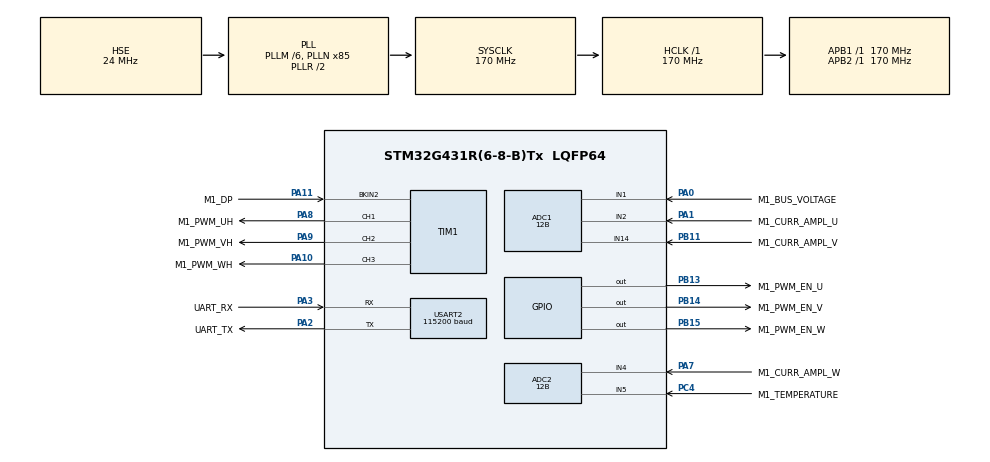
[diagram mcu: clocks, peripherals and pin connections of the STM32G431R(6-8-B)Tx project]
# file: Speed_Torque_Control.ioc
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ADC1.Channel-1\#ChannelRegularConversion=ADC_CHANNEL_1
ADC1.ClockPrescaler=ADC_CLOCK_ASYNC_DIV1
ADC1.ContinuousConvMode=DISABLE
ADC1.DMAContinuousRequests=DISABLE
ADC1.DataAlign=ADC_DATAALIGN_LEFT
ADC1.DiscontinuousConvMode=DISABLE
ADC1.EOCSelection=ADC_EOC_SINGLE_CONV
ADC1.EnableAnalogWatchDog1=false
ADC1.EnableAnalogWatchDog2=false
ADC1.EnableAnalogWatchDog3=false
ADC1.EnableInjectedConversion=ENABLE
ADC1.EnableRegularConversion=ENABLE
ADC1.ExternalTrigConv=ADC_SOFTWARE_START
ADC1.ExternalTrigConvEdge=ADC_EXTERNALTRIGCONVEDGE_NONE
ADC1.ExternalTrigInjecConv=ADC_EXTERNALTRIGINJEC_T1_TRGO
ADC1.ExternalTrigInjecConvEdge=ADC_EXTERNALTRIGINJECCONV_EDGE_RISING
ADC1.InjNumberOfConversion=2
ADC1.InjectedChannel-1\#ChannelInjectedConversion=ADC_CHANNEL_2
ADC1.InjectedChannel-2\#ChannelInjectedConversion=ADC_CHANNEL_14
ADC1.InjectedConvMode=None
ADC1.InjectedOffset-1\#ChannelInjectedConversion=0
ADC1.InjectedOffset-2\#ChannelInjectedConversion=0
ADC1.InjectedOffsetNumber-1\#ChannelInjectedConversion=ADC_OFFSET_NONE
ADC1.InjectedOffsetNumber-2\#ChannelInjectedConversion=ADC_OFFSET_NONE
ADC1.InjectedRank-1\#ChannelInjectedConversion=1
ADC1.InjectedRank-2\#ChannelInjectedConversion=2
ADC1.InjectedSamplingTime-1\#ChannelInjectedConversion=ADC_SAMPLETIME_6CYCLES_5
ADC1.InjectedSamplingTime-2\#ChannelInjectedConversion=ADC_SAMPLETIME_6CYCLES_5
ADC1.LowPowerAutoWait=DISABLE
ADC1.NbrOfConversion=1
ADC1.NbrOfConversionFlag=1
ADC1.Offset-1\#ChannelRegularConversion=0
ADC1.OffsetNumber-1\#ChannelRegularConversion=ADC_OFFSET_NONE
ADC1.Overrun=ADC_OVR_DATA_PRESERVED
ADC1.Rank-1\#ChannelRegularConversion=1
ADC1.Resolution=ADC_RESOLUTION_12B
ADC1.SamplingTime-1\#ChannelRegularConversion=ADC_SAMPLETIME_47CYCLES_5
ADC1.ScanConvMode=ADC_SCAN_ENABLE
ADC1.master=1
ADC2.Channel-1\#ChannelRegularConversion=ADC_CHANNEL_5
ADC2.ClockPrescaler=ADC_CLOCK_ASYNC_DIV1
ADC2.ContinuousConvMode=DISABLE
ADC2.DMAContinuousRequests=DISABLE
ADC2.DataAlign=ADC_DATAALIGN_LEFT
ADC2.DiscontinuousConvMode=DISABLE
ADC2.EOCSelection=ADC_EOC_SINGLE_CONV
ADC2.EnableAnalogWatchDog1=false
ADC2.EnableAnalogWatchDog2=false
ADC2.EnableAnalogWatchDog3=false
ADC2.EnableInjectedConversion=ENABLE
ADC2.EnableRegularConversion=ENABLE
ADC2.ExternalTrigConv=ADC_SOFTWARE_START
ADC2.ExternalTrigConvEdge=ADC_EXTERNALTRIGCONVEDGE_NONE
ADC2.ExternalTrigInjecConv=ADC_EXTERNALTRIGINJEC_T1_TRGO
ADC2.ExternalTrigInjecConvEdge=ADC_EXTERNALTRIGINJECCONV_EDGE_RISING
ADC2.InjNumberOfConversion=2
ADC2.InjectedChannel-1\#ChannelInjectedConversion=ADC_CHANNEL_14
ADC2.InjectedChannel-2\#ChannelInjectedConversion=ADC_CHANNEL_4
ADC2.InjectedConvMode=None
ADC2.InjectedOffset-1\#ChannelInjectedConversion=0
ADC2.InjectedOffset-2\#ChannelInjectedConversion=0
ADC2.InjectedOffsetNumber-1\#ChannelInjectedConversion=ADC_OFFSET_NONE
ADC2.InjectedOffsetNumber-2\#ChannelInjectedConversion=ADC_OFFSET_NONE
ADC2.InjectedRank-1\#ChannelInjectedConversion=1
ADC2.InjectedRank-2\#ChannelInjectedConversion=2
ADC2.InjectedSamplingTime-1\#ChannelInjectedConversion=ADC_SAMPLETIME_6CYCLES_5
ADC2.InjectedSamplingTime-2\#ChannelInjectedConversion=ADC_SAMPLETIME_6CYCLES_5
ADC2.LowPowerAutoWait=DISABLE
ADC2.NbrOfConversion=1
ADC2.NbrOfConversionFlag=1
ADC2.Offset-1\#ChannelRegularConversion=0
ADC2.OffsetNumber-1\#ChannelRegularConversion=ADC_OFFSET_NONE
ADC2.Overrun=ADC_OVR_DATA_PRESERVED
ADC2.Rank-1\#ChannelRegularConversion=1
ADC2.Resolution=ADC_RESOLUTION_12B
ADC2.SamplingTime-1\#ChannelRegularConversion=ADC_SAMPLETIME_47CYCLES_5
ADC2.ScanConvMode=ADC_SCAN_ENABLE
ADC2.master=1
Dma.Request0=USART2_RX
Dma.Request1=USART2_TX
Dma.USART2_RX.0.Direction=DMA_PERIPH_TO_MEMORY
Dma.USART2_RX.0.EventEnable=DISABLE
Dma.USART2_RX.0.Instance=DMA1_Channel1
Dma.USART2_RX.0.MemDataAlignment=DMA_MDATAALIGN_BYTE
Dma.USART2_RX.0.MemInc=DMA_MINC_ENABLE
Dma.USART2_RX.0.Mode=DMA_NORMAL
Dma.USART2_RX.0.PeriphDataAlignment=DMA_PDATAALIGN_BYTE
Dma.USART2_RX.0.PeriphInc=DMA_PINC_DISABLE
Dma.USART2_RX.0.Polarity=HAL_DMAMUX_REQ_GEN_RISING
Dma.USART2_RX.0.Priority=DMA_PRIORITY_LOW
Dma.USART2_RX.0.RequestNumber=1
Dma.USART2_RX.0.SignalID=NONE
Dma.USART2_RX.0.SyncEnable=DISABLE
Dma.USART2_RX.0.SyncPolarity=HAL_DMAMUX_SYNC_NO_EVENT
Dma.USART2_RX.0.SyncRequestNumber=1
Dma.USART2_RX.0.SyncSignalID=NONE
Dma.USART2_TX.1.Direction=DMA_MEMORY_TO_PERIPH
Dma.USART2_TX.1.EventEnable=DISABLE
Dma.USART2_TX.1.Instance=DMA1_Channel2
Dma.USART2_TX.1.MemDataAlignment=DMA_MDATAALIGN_BYTE
Dma.USART2_TX.1.MemInc=DMA_MINC_ENABLE
Dma.USART2_TX.1.Mode=DMA_NORMAL
Dma.USART2_TX.1.PeriphDataAlignment=DMA_PDATAALIGN_BYTE
Dma.USART2_TX.1.PeriphInc=DMA_PINC_DISABLE
Dma.USART2_TX.1.Polarity=HAL_DMAMUX_REQ_GEN_RISING
Dma.USART2_TX.1.Priority=DMA_PRIORITY_LOW
Dma.USART2_TX.1.RequestNumber=1
Dma.USART2_TX.1.SignalID=NONE
Dma.USART2_TX.1.SyncEnable=DISABLE
Dma.USART2_TX.1.SyncPolarity=HAL_DMAMUX_SYNC_NO_EVENT
Dma.USART2_TX.1.SyncRequestNumber=1
Dma.USART2_TX.1.SyncSignalID=NONE
ExtraMW=MotorControl
ExtraMW.MotorControl.Config=MotorControl
ExtraMW.MotorControl.Mode=MotorControl
ExtraMW.MotorControl.Root=MCSDK_v6.4.1-Full/MotorControl
ExtraMW.MotorControl.Template=templates
Mcu.Family=STM32G4
Mcu.Name=STM32G431R(6-8-B)Tx
Mcu.Package=LQFP64
MotorControl.ADC_1_PERIPH=ADC1
MotorControl.ADC_2_PERIPH=ADC2
MotorControl.ADC_AHBPERIPH=RCC_AHBPeriph_ADC12
MotorControl.ADC_CLOCK_WB_DIV=1
MotorControl.ADC_PERIPH=ADC1
MotorControl.ADC_REFERENCE_VOLTAGE=3.3
MotorControl.BOARD=NUCLEO-G431RB
MotorControl.BUS_VOLTAGE_READING=true
MotorControl.CCMRAM_ENABLED=false
MotorControl.CLOCK_FREQUENCY=CPU_CLK_170_MHZ
MotorControl.CLOCK_SOURCE=EXTERNAL
MotorControl.CPU_CLK_170_MHZ=true
MotorControl.CTLBOARD_NAME=NUCLEO-G431RB
MotorControl.CUBE_MX_VER=6.16.0
MotorControl.CURRENT_READING_TOPOLOGY=THREE_SHUNT_INDEPENDENT_RESOURCES
MotorControl.CURR_SAMPLING_TIME=6
MotorControl.DBG_MCU_LOAD_MEASURE=false
MotorControl.DEBUG_DAC_FUNCTIONALITY_EN=false
MotorControl.DP_EMERGENCY_STOP_GPIO_PIN=LL_GPIO_PIN_11
MotorControl.DP_EMERGENCY_STOP_GPIO_PORT=GPIOA
MotorControl.DRIVES_NUMBER_SELECTION=SINGLEDRIVE
MotorControl.DRIVE_NUMBER=1
MotorControl.DRIVE_TYPE=FOC
MotorControl.ENCODER_AVAILABLE=false
MotorControl.ENCODER_PPR=400
MotorControl.EXT_CLK_24_MHZ=true
MotorControl.EXT_CLOCK_FREQUENCY=EXT_CLK_24_MHZ
MotorControl.FEEDBACK_NET_FILTERING=false
MotorControl.FLASH_SIZE=128
MotorControl.HALL_SENSORS_AVAILABLE=false
MotorControl.HIGH_SIDE_IDLE_STATE=false
MotorControl.HWV_CS=ThreeShunt_AmplifiedCurrents
MotorControl.HWV_DP=SingleErrorTrigger_FixedReference
MotorControl.HWV_PWM=DrivingHighSidesAndThreeEnables
MotorControl.HW_COMPLEMENTED_LOW_SIDE=true
MotorControl.HW_DEAD_TIME_NS=550
MotorControl.IPs=CORDIC,SYS,NVIC,RCC,MotorControl,TIM1,ADC1,ADC2,USART2,DMA
MotorControl.LOW_MEMORY_FOOTPRINT_REG=false
MotorControl.LOW_SIDE_IDLE_STATE=false
MotorControl.LOW_SIDE_SIGNALS_ENABLING=ES_GPIO
MotorControl.M1_AMPLIFICATION_GAIN=1.53
MotorControl.M1_ANGC={0,0,0,0,0,0,0,0}
MotorControl.M1_AUXILIARY_SPEED_SENSOR=NONE
MotorControl.M1_BEMF_CONSISTENCY_GAIN=64
MotorControl.M1_BEMF_CONSISTENCY_TOL=64
MotorControl.M1_BOARD_MAX_CURRENT=1
MotorControl.M1_BUS_VOLTAGE_READING=true
MotorControl.M1_COMMUTATION_STEP_TIME_BUF_SIZE=12
MotorControl.M1_CONSTANT1_D=202576
MotorControl.M1_CONSTANT1_Q=202576
MotorControl.M1_CONSTANT2_QD=40424
MotorControl.M1_CS_ADC_NUM=2
MotorControl.M1_CS_ADC_PHASE_SHARED=V
MotorControl.M1_CS_ADC_U=ADC1
MotorControl.M1_CS_ADC_W=ADC2
MotorControl.M1_CS_CHANNEL_SHARED=14
MotorControl.M1_CS_CHANNEL_U=2
MotorControl.M1_CS_CHANNEL_V=14
MotorControl.M1_CS_CHANNEL_W=4
MotorControl.M1_CURRENT_AMPLIFICATION_TOPO=EXTERNAL
MotorControl.M1_CURRENT_SENSING_TOPO=THREE_SHUNT
MotorControl.M1_CURR_SAMPLING_TIME=6
MotorControl.M1_DBG_OPEN_LOOP_ENABLE=false
MotorControl.M1_DC_CURRENT_RS_MEAS=1
MotorControl.M1_DEFAULT_CONTROL_MODE=STC_SPEED_MODE
MotorControl.M1_DEFAULT_FLUX_COMPONENT=0
MotorControl.M1_DEFAULT_TARGET_SPEED_RPM=524
MotorControl.M1_DEFAULT_TORQUE_COMPONENT=0
MotorControl.M1_DISCONTINUOUS_PWM=false
MotorControl.M1_DP_BKIN_FILTER=3
MotorControl.M1_DP_BKIN_MODE=EXT_MODE
MotorControl.M1_DP_BKIN_POLARITY=EMSTOP_ACTIVE_LOW
MotorControl.M1_DP_DESTINATION=TIM_BKIN2
MotorControl.M1_DP_TOPOLOGY=EXTERNAL
MotorControl.M1_DRIVE_TYPE=FOC
MotorControl.M1_ENABLE_SL_ALGO_FROM_PHASE=2
MotorControl.M1_ENCODER_PPR=400
MotorControl.M1_F1=16384
MotorControl.M1_F2=4096
MotorControl.M1_FEED_FORWARD_CURRENT_REG_ENABLING=false
MotorControl.M1_FLUX_WEAKENING_ENABLING=false
MotorControl.M1_FW_KIDIV=32768
MotorControl.M1_FW_KI_GAIN=5000
MotorControl.M1_FW_KPDIV=32768
MotorControl.M1_FW_KP_GAIN=3000
MotorControl.M1_FW_VOLTAGE_REF=985
MotorControl.M1_GAIN1=-22528
MotorControl.M1_GAIN2=31586
MotorControl.M1_HALL_PHASE_SHIFT=300
MotorControl.M1_HALL_SENSORS_PLACEMENT=DEGREES_120
MotorControl.M1_HIGH_SIDE_IDLE_STATE=false
MotorControl.M1_HW_DEAD_TIME_NS=550
MotorControl.M1_ICL_ENABLED=false
MotorControl.M1_ID_DEMAG=-1
MotorControl.M1_IQMAX=1
MotorControl.M1_LDLQ_RATIO=1.000
MotorControl.M1_LOW_SIDE_IDLE_STATE=false
MotorControl.M1_LOW_SIDE_SIGNALS_ENABLING=ES_GPIO
MotorControl.M1_LS=0.001058
MotorControl.M1_MAX_APPLICATION_SPEED=1572
MotorControl.M1_MAX_MODULATION_INDEX=100
MotorControl.M1_MIN_APPLICATION_SPEED=0
MotorControl.M1_MOTOR_MAX_SPEED_RPM=1572
MotorControl.M1_MOTOR_NAME=GimBal GBM2804H-100T
MotorControl.M1_MOTOR_RATED_FLUX=0.034739897
MotorControl.M1_MOTOR_VOLTAGE_CONSTANT=5.0
MotorControl.M1_MTPA_ENABLING=false
MotorControl.M1_NB_CONSECUTIVE_TESTS=2
MotorControl.M1_NOMINAL_BUS_VOLTAGE_V=15
MotorControl.M1_NOMINAL_CURRENT=1
MotorControl.M1_OBS_MINIMUM_SPEED_RPM=524
MotorControl.M1_OCP_TOPOLOGY=NONE
MotorControl.M1_OFST={0,0,0,0,0,0,0,0}
MotorControl.M1_ON_OVER_VOLTAGE=TURN_OFF_PWM
MotorControl.M1_OVERMODULATION=true
MotorControl.M1_OVP_THRESHOLD_HIGH=18
MotorControl.M1_OV_TEMPERATURE_HYSTERESIS_C=10
MotorControl.M1_OV_TEMPERATURE_PROT_ENABLING=true
MotorControl.M1_OV_TEMPERATURE_THRESHOLD_C=110
MotorControl.M1_OV_VOLTAGE_PROT_ENABLING=true
MotorControl.M1_OV_VOLTAGE_THRESHOLD_V=18
MotorControl.M1_PHASE1_DURATION=1000
MotorControl.M1_PHASE1_FINAL_CURRENT=1
MotorControl.M1_PHASE1_FINAL_SPEED_RPM=0
MotorControl.M1_PHASE2_DURATION=1164
MotorControl.M1_PHASE2_FINAL_CURRENT=1
MotorControl.M1_PHASE2_FINAL_SPEED_RPM=582
MotorControl.M1_PHASE3_DURATION=0
MotorControl.M1_PHASE3_FINAL_CURRENT=1
MotorControl.M1_PHASE3_FINAL_SPEED_RPM=582
MotorControl.M1_PHASE4_DURATION=0
MotorControl.M1_PHASE4_FINAL_CURRENT=1
MotorControl.M1_PHASE4_FINAL_SPEED_RPM=582
MotorControl.M1_PHASE5_DURATION=0
MotorControl.M1_PHASE5_FINAL_CURRENT=1
MotorControl.M1_PHASE5_FINAL_SPEED_RPM=582
MotorControl.M1_PID_FLUX_KD_DEFAULT=100
MotorControl.M1_PID_FLUX_KI_DEFAULT=3783
MotorControl.M1_PID_FLUX_KP_DEFAULT=2837
MotorControl.M1_PID_SPEED_KD_DEFAULT=0
MotorControl.M1_PID_SPEED_KI_DEFAULT=562
MotorControl.M1_PID_SPEED_KP_DEFAULT=2730
MotorControl.M1_PID_TORQUE_KD_DEFAULT=100
MotorControl.M1_PID_TORQUE_KI_DEFAULT=3783
MotorControl.M1_PID_TORQUE_KP_DEFAULT=2837
MotorControl.M1_PLL_KI_GAIN=5
MotorControl.M1_PLL_KP_GAIN=195
MotorControl.M1_POLE_PAIR_NUM=7
MotorControl.M1_POSITION_CTRL_ENABLING=false
MotorControl.M1_POTENTIOMETER_ENABLE=false
MotorControl.M1_POWERBOARD_NAME=X-NUCLEO-IHM16M1
MotorControl.M1_PWM_CHARGE_BOOT_CAP_DUTY_CYCLES=0.000
MotorControl.M1_PWM_CHARGE_BOOT_CAP_MS=10
MotorControl.M1_PWM_DRIVER_PN=STSPIN830
MotorControl.M1_PWM_FREQUENCY=30000
MotorControl.M1_PWM_TIMER_BRK_IRQ=TIM1_BRK_TIM15
MotorControl.M1_PWM_TIMER_SELECTION=PWM_TIM1
MotorControl.M1_PWM_TIMER_UP_IRQ=TIM1_UP_TIM16
MotorControl.M1_REGULATION_EXECUTION_RATE=1
MotorControl.M1_RS=5.29
MotorControl.M1_RSHUNT=0.33
MotorControl.M1_SEGDIV=0
MotorControl.M1_SHARED_SIGNAL_ENABLE=false
MotorControl.M1_SPD_DIFFERENTIAL_TERM_ENABLING=false
MotorControl.M1_SPEED_BAND_LOWER_LIMIT=15
MotorControl.M1_SPEED_BAND_UPPER_LIMIT=17
MotorControl.M1_SPEED_FEEDBACK_CHECK=true
MotorControl.M1_SPEED_LOOP_FREQUENCY_HZ=1000
MotorControl.M1_SPEED_SENSOR=STO_PLL
MotorControl.M1_SP_KDDIV=16
MotorControl.M1_SP_KIDIV=16384
MotorControl.M1_SP_KPDIV=256
MotorControl.M1_SS_MEAS_ERRORS_BEFORE_FAULTS=3
MotorControl.M1_STARTING_ANGLE_DEG=0
MotorControl.M1_STO_FIFO_DEPTH_01HZ=64
MotorControl.M1_STO_FIFO_DEPTH_DPP=64
MotorControl.M1_SW_DEADTIME_NS=525
MotorControl.M1_T0_C=25
MotorControl.M1_TEMPERATURE_READING=true
MotorControl.M1_TEMP_ADC_SAMPLING_TIME=47
MotorControl.M1_TEMP_FDBK_ADC=ADC2
MotorControl.M1_TEMP_FDBK_CHANNEL=ADC_CHANNEL_5
MotorControl.M1_TF_KDDIV=8192
MotorControl.M1_TF_KIDIV=8192
MotorControl.M1_TF_KPDIV=1024
MotorControl.M1_TNOISE_NS=500
MotorControl.M1_TRANSITION_DURATION=25
MotorControl.M1_TRISE_NS=500
MotorControl.M1_T_MAX=110
MotorControl.M1_UD_VOLTAGE_THRESHOLD_V=7
MotorControl.M1_USE_INTERNAL_OPAMP=false
MotorControl.M1_UV_VOLTAGE_PROT_ENABLING=true
MotorControl.M1_V0_V=0.579
MotorControl.M1_VARIANCE_THRESHOLD=0.25
MotorControl.M1_VBUS_ADC=ADC1
MotorControl.M1_VBUS_ADC_SAMPLING_TIME=47
MotorControl.M1_VBUS_CHANNEL=ADC_CHANNEL_1
MotorControl.M1_VBUS_PARTITIONING_FACTOR=0.0625
MotorControl.M1_dV_dT=0.027
MotorControl.MAX_READABLE_CURRENT=3.272
MotorControl.MCP_ASPEP_OVER_UART=true
MotorControl.MCP_ASYNC_EN=false
MotorControl.MCP_ASYNC_OVER_ASPEP_EN=false
MotorControl.MCP_ASYNC_OVER_UART_A_EN=false
MotorControl.MCP_DMACH_RX_UART_A=1
MotorControl.MCP_DMACH_TX_UART_A=2
MotorControl.MCP_DMA_RX_UART_A=DMA1
MotorControl.MCP_DMA_TX_UART_A=DMA1
MotorControl.MCP_EN=true
MotorControl.MCP_IRQ_HANDLER_DMA_RX_UART_A=DMA1_Channel1_IRQHandler
MotorControl.MCP_IRQ_HANDLER_UART_A=USART2_IRQHandler
MotorControl.MCP_OVER_ASPEP_EN=true
MotorControl.MCP_OVER_STLNK_EN=false
MotorControl.MCP_OVER_UART_A_EN=true
MotorControl.MCP_OVER_UART_B_EN=false
MotorControl.MCP_RX_SYNC_PAYLOAD_MAX=256
MotorControl.MCP_TX_SYNC_PAYLOAD_MAX=256
MotorControl.MCU=STM32G431RB
MotorControl.MCU_FAMILY=STM32G4
MotorControl.MCU_LINE=STM32G4x1
MotorControl.MCU_NAME=STM32G431R(6-8-B)Tx
MotorControl.MCU_PACKAGE=LQFP64
MotorControl.MCU_TYPE=STM32G431RB
MotorControl.MCU_USERNAME=STM32G431RBTx
MotorControl.MC_WORKBENCH_VERSION=6.4.1
MotorControl.MOTOR_PROFILER=false
MotorControl.MOTOR_TYPE=PMSM
MotorControl.ON_OVER_VOLTAGE=TURN_OFF_PWM
MotorControl.OV_TEMPERATURE_PROT_ENABLING=true
MotorControl.OV_VOLTAGE_PROT_ENABLING=true
MotorControl.PHASE_UH_GPIO_PIN=LL_GPIO_PIN_8
MotorControl.PHASE_UH_GPIO_PORT=GPIOA
MotorControl.PHASE_UH_POLARITY=H_ACTIVE_HIGH
MotorControl.PHASE_UL_GPIO_PIN=LL_GPIO_PIN_13
MotorControl.PHASE_UL_GPIO_PORT=GPIOB
MotorControl.PHASE_UL_POLARITY=L_ACTIVE_HIGH
MotorControl.PHASE_U_CURR_ADC=ADC1
MotorControl.PHASE_U_CURR_CHANNEL=ADC_CHANNEL_2
MotorControl.PHASE_U_GPIO_PIN=LL_GPIO_PIN_1
MotorControl.PHASE_U_GPIO_PORT=GPIOA
MotorControl.PHASE_U_PWM_CHANNEL=TIM_Channel_1
MotorControl.PHASE_VH_GPIO_PIN=LL_GPIO_PIN_9
MotorControl.PHASE_VH_GPIO_PORT=GPIOA
MotorControl.PHASE_VH_POLARITY=H_ACTIVE_HIGH
MotorControl.PHASE_VL_GPIO_PIN=LL_GPIO_PIN_14
MotorControl.PHASE_VL_GPIO_PORT=GPIOB
MotorControl.PHASE_VL_POLARITY=L_ACTIVE_HIGH
MotorControl.PHASE_V_CURR_ADC=ADC1
MotorControl.PHASE_V_CURR_CHANNEL=ADC_CHANNEL_14
MotorControl.PHASE_V_GPIO_PIN=LL_GPIO_PIN_11
MotorControl.PHASE_V_GPIO_PORT=GPIOB
MotorControl.PHASE_V_PWM_CHANNEL=TIM_Channel_2
MotorControl.PHASE_V_S_CURR_ADC=ADC2
MotorControl.PHASE_V_S_CURR_CHANNEL=ADC_CHANNEL_14
MotorControl.PHASE_V_S_GPIO_PIN=LL_GPIO_PIN_11
MotorControl.PHASE_V_S_GPIO_PORT=GPIOB
MotorControl.PHASE_WH_GPIO_PIN=LL_GPIO_PIN_10
MotorControl.PHASE_WH_GPIO_PORT=GPIOA
MotorControl.PHASE_WH_POLARITY=H_ACTIVE_HIGH
MotorControl.PHASE_WL_GPIO_PIN=LL_GPIO_PIN_15
MotorControl.PHASE_WL_GPIO_PORT=GPIOB
MotorControl.PHASE_WL_POLARITY=L_ACTIVE_HIGH
MotorControl.PHASE_W_CURR_ADC=ADC2
MotorControl.PHASE_W_CURR_CHANNEL=ADC_CHANNEL_4
MotorControl.PHASE_W_GPIO_PIN=LL_GPIO_PIN_7
MotorControl.PHASE_W_GPIO_PORT=GPIOA
MotorControl.PHASE_W_PWM_CHANNEL=TIM_Channel_3
MotorControl.POTENTIOMETER_READING=false
MotorControl.PWM_FREQUENCY=30000
MotorControl.PWM_TIMER_SELECTION=PWM_TIM1
MotorControl.REGULATION_EXECUTION_RATE=1
MotorControl.RTOS=NONE
MotorControl.R_BRAKE_SWITCH_OFF_THRES_V=14
MotorControl.SINGLEDRIVE=true
MotorControl.SPD_DIFFERENTIAL_TERM_ENABLING=false
MotorControl.SPEED_SENSOR_SELECTION=STATE_OBSERVER_PLL
MotorControl.START_STOP_BTN=false
MotorControl.STATE_OBSERVER_PLL=true
MotorControl.STM32G431RB=true
MotorControl.SW_DEADTIME_NS=525
MotorControl.TEMPERATURE_READING=true
MotorControl.TEMP_ADC_SAMPLING_TIME=47
MotorControl.TEMP_FDBK_ADC=ADC2
MotorControl.TEMP_FDBK_CHANNEL=ADC_CHANNEL_5
MotorControl.TEMP_FDBK_GPIO_PIN=LL_GPIO_PIN_4
MotorControl.TEMP_FDBK_GPIO_PORT=GPIOC
MotorControl.TFDIFFERENTIAL_TERM_ENABLING=false
MotorControl.THREE_SHUNT_INDEPENDENT_RESOURCES=true
MotorControl.TRISE_NS=500
MotorControl.USART_RX_GPIO_PIN=LL_GPIO_PIN_3
MotorControl.USART_RX_GPIO_PORT=GPIOA
MotorControl.USART_SELECTION=USE_USART2
MotorControl.USART_SELECTION_A=USART2
MotorControl.USART_SPEED=115200
MotorControl.USART_TX_GPIO_PIN=LL_GPIO_PIN_2
MotorControl.USART_TX_GPIO_PORT=GPIOA
MotorControl.USE_3OPAMPS=false
MotorControl.USE_INTERNAL_OPAMP=false
MotorControl.UV_VOLTAGE_PROT_ENABLING=true
MotorControl.VBUS_ADC=ADC1
MotorControl.VBUS_ADC_SAMPLING_TIME=47
MotorControl.VBUS_CHANNEL=ADC_CHANNEL_1
MotorControl.VBUS_GPIO_PIN=LL_GPIO_PIN_0
MotorControl.VBUS_GPIO_PORT=GPIOA
MotorControl.WB_MX_HEAPSIZE=0x200
MotorControl.WB_MX_STACKSIZE=0x400
MotorControl.WB_MX_TRUSTZONE_AVAILABLE=false
MotorControl.WB_UI_CUTOFF_FREQUENCY=6000
MotorControl.WB_UI_DP_DISABLING_ENABLE=false
MotorControl.WB_UI_ENCODER_HAS_INDEX_PIN=false
MotorControl.WB_UI_FLUX_TARGET=0
MotorControl.WB_UI_FRICTION=0.937
MotorControl.WB_UI_INERTIA=0.291
MotorControl.WB_UI_MAGNETIC_STRUCTURE=SM-PMSM
MotorControl.WB_UI_MAX_CURRENT=1
MotorControl.WB_UI_MAX_NOMINAL_DC_VOLTAGE=15
MotorControl.WB_UI_MAX_PWMFREQUENCY=100000
MotorControl.WB_UI_MOTOR_DESCRIPTION=iPower GBM2804H-100T Brushless Gimbal Motor
MotorControl.WB_UI_PW_BOARD_MAX_RATED_CURRENT=2.12
MotorControl.WB_UI_PW_BOARD_MAX_VOLTAGE=45
MotorControl.WB_UI_PW_BOARD_MIN_VOLTAGE=7
MotorControl.WB_UI_VPOL=1.559
MotorControl.WB_to_Mx_template_version=25-05-06
MotorControl.WB_to_Mx_version=6.4.1-RC1-Full
NVIC.ADC1_2_IRQn=true\:2\:0\:true\:true\:false\:5\:true\:true\:true
NVIC.DMA1_Channel1_IRQn=true\:3\:0\:true\:true\:false\:2\:true\:true\:true
NVIC.PriorityGroup=NVIC_PRIORITYGROUP_3
NVIC.TIM1_BRK_TIM15_IRQn=true\:4\:1\:true\:true\:false\:3\:true\:true\:true
NVIC.TIM1_UP_TIM16_IRQn=true\:0\:0\:false\:true\:false\:4\:true\:true\:true
NVIC.USART2_IRQn=true\:3\:1\:true\:true\:false\:1\:true\:true\:true
PA0.GPIO_Label=M1_BUS_VOLTAGE
PA0.Mode=IN1-Single-Ended
PA0.Signal=ADC1_IN1
PA1.GPIO_Label=M1_CURR_AMPL_U
PA1.Mode=IN2-Single-Ended
PA1.Signal=ADC1_IN2
PA10.GPIO_Label=M1_PWM_WH
PA10.GPIO_PuPd=GPIO_PULLDOWN
PA10.GPIO_Speed=GPIO_SPEED_FREQ_HIGH
PA10.Signal=S_TIM1_CH3
PA11.GPIO_Label=M1_DP
PA11.GPIO_PuPd=GPIO_PULLUP
PA11.Mode=Activate-Break-Input-2
PA11.Signal=TIM1_BKIN2
PA13.GPIO_Label=TMS
PA13.Mode=Serial_Wire
PA13.Signal=SYS_JTMS-SWDIO
PA14.GPIO_Label=TCK
PA14.Mode=Serial_Wire
PA14.Signal=SYS_JTCK-SWCLK
PA2.GPIO_Label=UART_TX
PA2.GPIO_Mode=GPIO_MODE_AF_PP
PA2.GPIO_PuPd=GPIO_NOPULL
PA2.GPIO_Speed=GPIO_SPEED_FREQ_LOW
PA2.Mode=Asynchronous
PA2.Signal=USART2_TX
PA3.GPIO_Label=UART_RX
PA3.GPIO_Mode=GPIO_MODE_AF_PP
PA3.GPIO_PuPd=GPIO_NOPULL
PA3.GPIO_Speed=GPIO_SPEED_FREQ_LOW
PA3.Mode=Asynchronous
PA3.Signal=USART2_RX
PA7.GPIO_Label=M1_CURR_AMPL_W
PA7.Mode=IN4-Single-Ended
PA7.Signal=ADC2_IN4
PA8.GPIO_Label=M1_PWM_UH
PA8.GPIO_PuPd=GPIO_PULLDOWN
PA8.GPIO_Speed=GPIO_SPEED_FREQ_HIGH
PA8.Signal=S_TIM1_CH1
PA9.GPIO_Label=M1_PWM_VH
PA9.GPIO_PuPd=GPIO_PULLDOWN
PA9.GPIO_Speed=GPIO_SPEED_FREQ_HIGH
PA9.Signal=S_TIM1_CH2
PB11.GPIO_Label=M1_CURR_AMPL_V
PB11.Signal=SharedAnalog_PB11
PB13.GPIO_Label=M1_PWM_EN_U
PB13.GPIO_PuPd=GPIO_PULLDOWN
PB13.GPIO_Speed=GPIO_SPEED_FREQ_HIGH
PB13.Signal=GPIO_Output
PB14.GPIO_Label=M1_PWM_EN_V
PB14.GPIO_PuPd=GPIO_PULLDOWN
PB14.GPIO_Speed=GPIO_SPEED_FREQ_HIGH
PB14.Signal=GPIO_Output
PB15.GPIO_Label=M1_PWM_EN_W
PB15.GPIO_PuPd=GPIO_PULLDOWN
PB15.GPIO_Speed=GPIO_SPEED_FREQ_HIGH
PB15.Signal=GPIO_Output
PC4.GPIO_Label=M1_TEMPERATURE
PC4.Mode=IN5-Single-Ended
PC4.Signal=ADC2_IN5
PF0-OSC_IN.Mode=HSE-External-Oscillator
PF0-OSC_IN.Signal=RCC_OSC_IN
PF1-OSC_OUT.Mode=HSE-External-Oscillator
PF1-OSC_OUT.Signal=RCC_OSC_OUT
ProjectManager.HeapSize=0x200
ProjectManager.StackSize=0x400
ProjectManager.TargetToolchain=STM32CubeIDE
RCC.ADC12CLockSelection=RCC_ADC12CLKSOURCE_PLL
RCC.ADC12Freq_Value=42500000
RCC.AHBFreq_Value=170000000
RCC.APB1Freq_Value=170000000
RCC.APB1TimFreq_Value=170000000
RCC.APB2Freq_Value=170000000
RCC.APB2TimFreq_Value=170000000
RCC.CK48CLockSelection=RCC_USBCLKSOURCE_PLL
RCC.CortexFreq_Value=170000000
RCC.EXTERNAL_CLOCK_VALUE=12288000
RCC.EnbaleCSS=true
RCC.HCLKFreq_Value=170000000
RCC.HSE_VALUE=24000000
RCC.HSI48_VALUE=48000000
RCC.HSI_VALUE=16000000
RCC.LSE_VALUE=32768
RCC.PLLM=RCC_PLLM_DIV6
RCC.PLLN=85
RCC.PLLP=RCC_PLLP_DIV8
RCC.PLLSourceVirtual=RCC_PLLSOURCE_HSE
RCC.PREFETCH_ENABLE=1
RCC.SYSCLKFreq_VALUE=170000000
RCC.SYSCLKSource=RCC_SYSCLKSOURCE_PLLCLK
RCC.USBFreq_Value=170000000
RCC.VCOOutputFreq_Value=340000000
SH.S_TIM1_CH1.0=TIM1_CH1,PWM Generation1 CH1
SH.S_TIM1_CH2.0=TIM1_CH2,PWM Generation2 CH2
SH.S_TIM1_CH3.0=TIM1_CH3,PWM Generation3 CH3
SH.SharedAnalog_PB11.0=ADC1_IN14,IN14-Single-Ended
SH.SharedAnalog_PB11.1=ADC2_IN14,IN14-Single-Ended
TIM1.AutoReloadPreload=TIM_AUTORELOAD_PRELOAD_DISABLE
TIM1.AutomaticOutput=TIM_AUTOMATICOUTPUT_DISABLE
TIM1.Break2Filter=3
TIM1.Break2Polarity=TIM_BREAK2POLARITY_HIGH
TIM1.Break2State=TIM_BREAK2_ENABLE
TIM1.BreakFilter=0
TIM1.BreakPolarity=TIM_BREAKPOLARITY_HIGH
TIM1.BreakState=TIM_BREAK_DISABLE
TIM1.Channel=TIM_CHANNEL_4
TIM1.Channel-PWM\ Generation1\ CH1=TIM_CHANNEL_1
TIM1.Channel-PWM\ Generation2\ CH2=TIM_CHANNEL_2
TIM1.Channel-PWM\ Generation3\ CH3=TIM_CHANNEL_3
TIM1.Channel-PWM\ Generation4\ No\ Output=TIM_CHANNEL_4
TIM1.ClearInputSource=TIM_CLEARINPUTSOURCE_NONE
TIM1.ClockDivision=TIM_CLOCKDIVISION_DIV2
TIM1.CounterMode=TIM_COUNTERMODE_CENTERALIGNED1
TIM1.LockLevel=TIM_LOCKLEVEL_OFF
TIM1.OC1Preload_PWM=ENABLE
TIM1.OC2Preload_PWM=ENABLE
TIM1.OC3Preload_PWM=ENABLE
TIM1.OC4Preload_PWM=ENABLE
TIM1.OCFastMode_PWM=TIM_OCFAST_DISABLE
TIM1.OCIdleState_1=TIM_OCIDLESTATE_RESET
TIM1.OCIdleState_2=TIM_OCIDLESTATE_RESET
TIM1.OCIdleState_3=TIM_OCIDLESTATE_RESET
TIM1.OCIdleState_4=TIM_OCIDLESTATE_RESET
TIM1.OCMode_PWM-PWM\ Generation1\ CH1=TIM_OCMODE_PWM1
TIM1.OCMode_PWM-PWM\ Generation2\ CH2=TIM_OCMODE_PWM1
TIM1.OCMode_PWM-PWM\ Generation3\ CH3=TIM_OCMODE_PWM1
TIM1.OCMode_PWM-PWM\ Generation4\ No\ Output=TIM_OCMODE_PWM2
TIM1.OCPolarity_1=TIM_OCPOLARITY_HIGH
TIM1.OCPolarity_2=TIM_OCPOLARITY_HIGH
TIM1.OCPolarity_3=TIM_OCPOLARITY_HIGH
TIM1.OCPolarity_4=TIM_OCPOLARITY_HIGH
TIM1.OffStateIDLEMode=TIM_OSSI_ENABLE
TIM1.OffStateRunMode=TIM_OSSR_ENABLE
TIM1.PeriodNoDither=((PWM_PERIOD_CYCLES) / 2)
TIM1.Prescaler=((TIM_CLOCK_DIVIDER) - 1)
TIM1.PulseNoDither_1=((PWM_PERIOD_CYCLES) / 4)
TIM1.PulseNoDither_2=((PWM_PERIOD_CYCLES) / 4)
TIM1.PulseNoDither_3=((PWM_PERIOD_CYCLES) / 4)
TIM1.PulseNoDither_4=(((PWM_PERIOD_CYCLES) / 2) - (HTMIN))
TIM1.RepetitionCounter=(REP_COUNTER)
TIM1.SourceBRK2DigInput=TIM_BREAKINPUTSOURCE_ENABLE
TIM1.SourceBRK2DigInputPolarity=TIM_BREAKINPUTSOURCE_POLARITY_LOW
TIM1.SourceBRKDigInput=TIM_BREAKINPUTSOURCE_DISABLE
TIM1.TIM_MasterOutputTrigger=TIM_TRGO_OC4REF
TIM1.TIM_MasterOutputTrigger2=TIM_TRGO2_RESET
TIM1.TIM_MasterSlaveMode=TIM_MASTERSLAVEMODE_DISABLE
TIM1.TIM_SlaveMode=TIM_SLAVEMODE_TRIGGER
USART2.BaudRate=115200
USART2.VirtualMode-Asynchronous=VM_ASYNC
USART2.WordLength=WORDLENGTH_8B
VP_CORDIC_VS_CORDIC.Mode=CORDIC_Activate
VP_MotorControl_MC_ENABLED.Mode=Enabled
VP_SYS_VS_DBSignals.Mode=DisableDeadBatterySignals
VP_TIM1_VS_no_output4.Mode=PWM Generation4 No Output
board=custom

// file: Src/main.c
/* USER CODE BEGIN Header */
/**
  ******************************************************************************
  * @file           : main.c
  * @brief          : Main program body
  ******************************************************************************
  * @attention
  *
  * Copyright (c) 2026 STMicroelectronics.
  * All rights reserved.
  *
  * This software is licensed under terms that can be found in the LICENSE file
  * in the root directory of this software component.
  * If no LICENSE file comes with this software, it is provided AS-IS.
  *
  ******************************************************************************
  */
/* USER CODE END Header */
#include "main.h"

/* USER CODE BEGIN Includes */

#include "mc_api.h"
#include <stdint.h>
#include <stdbool.h>

typedef enum {
    MODE_POSITION = 1,
    MODE_SPEED_TORQUE = 2
} ControlMode_t;

typedef struct {
    int32_t target_position;
    int16_t max_speed;
} PositionControl_t;

typedef struct {
    int16_t speed;
    int16_t torque;
} SpeedTorqueControl_t;

/* USER CODE END Includes */

/* USER CODE BEGIN PM */
extern SpeednPosFdbk_Handle_t *pSPD_M1;
static int32_t position = 0;
static int16_t prev_angle = 0;
static ControlMode_t currentMode = MODE_POSITION;

static PositionControl_t posCtrl;
static SpeedTorqueControl_t spdTrqCtrl;

#define KP_POSITION  2
#define MAX_SPEED    2000   // dHz
#define POSITION_THRESHOLD 5

/* USER CODE END PM */

ADC_HandleTypeDef hadc1;
ADC_HandleTypeDef hadc2;

CORDIC_HandleTypeDef hcordic;

TIM_HandleTypeDef htim1;

UART_HandleTypeDef huart2;
DMA_HandleTypeDef hdma_usart2_rx;
DMA_HandleTypeDef hdma_usart2_tx;

void SystemClock_Config(void);
static void MX_GPIO_Init(void);
static void MX_DMA_Init(void);
static void MX_ADC1_Init(void);
static void MX_ADC2_Init(void);
static void MX_CORDIC_Init(void);
static void MX_TIM1_Init(void);
static void MX_USART2_UART_Init(void);
static void MX_NVIC_Init(void);

/* USER CODE BEGIN 0 */

float GetCurrentPositionDeg(void)
{
	int16_t current_angle = (int16_t)SPD_GetMecAngle(pSPD_M1);
	int16_t delta = current_angle - prev_angle;

    // Handle overflow (wrap-around)
    if (delta > 32768)
        delta -= 65536;
    else if (delta < -32768)
        delta += 65536;

    position += delta;
    prev_angle = current_angle;

    float position_deg = (position * 360.0f) / 65536.0f;
    return position_deg;
}

int32_t GetCurrentPosition(void)
{
    int16_t current_angle = (int16_t)SPD_GetMecAngle(pSPD_M1);
    int16_t delta = current_angle - prev_angle;

    if (delta > 32768)
        delta -= 65536;
    else if (delta < -32768)
        delta += 65536;

    position += delta;
    prev_angle = current_angle;

    return position;
}

void MotorController_Init(void)
{
    currentMode = MODE_POSITION;
}

void MotorController_Start(void)
{
    MC_StartMotor1();
}

void MotorController_Stop(void)
{
    MC_StopMotor1();
}

void MotorController_SetPosition(int32_t position, int16_t speed)
{
    posCtrl.target_position = position;
    posCtrl.max_speed = speed;
}

void MotorController_SetSpeedTorque(int16_t speed, int16_t torque)
{
    spdTrqCtrl.speed = speed;
    spdTrqCtrl.torque = torque;
}

/*----------Trying out the control loop----------*/

static void PositionControlLoop(void)
{
    int32_t currentPos = GetCurrentPosition();
    int32_t error = posCtrl.target_position - currentPos;

    if (abs(error) < POSITION_THRESHOLD)
    {
        MC_ProgramSpeedRampMotor1(0, 200);
        return;
    }

    int16_t speedRef = KP_POSITION * error;

    if (speedRef > posCtrl.max_speed)
        speedRef = posCtrl.max_speed;

    if (speedRef < -posCtrl.max_speed)
        speedRef = -posCtrl.max_speed;

    MC_ProgramSpeedRampMotor1(speedRef, 0);
}

static void SpeedTorqueControlLoop(void)
{
    MC_ProgramSpeedRampMotor1(spdTrqCtrl.speed, 0);

    qd_t current;
    current.q = spdTrqCtrl.torque;
    current.d = 0;

    MC_SetCurrentReferenceMotor1(current);
}

/* USER CODE END 0 */

int main(void)
{

  /* MCU Configuration--------------------------------------------------------*/

  /* Reset of all peripherals, Initializes the Flash interface and the Systick. */
  HAL_Init();

  /* Configure the system clock */
  SystemClock_Config();

  /* Initialize all configured peripherals */
  MX_GPIO_Init();
  MX_DMA_Init();
  MX_ADC1_Init();
  MX_ADC2_Init();
  MX_CORDIC_Init();
  MX_TIM1_Init();
  MX_USART2_UART_Init();
  MX_MotorControl_Init();

  /* Initialize interrupts */
  MX_NVIC_Init();
  /* USER CODE BEGIN 2 */
  MotorController_Init();
  MotorController_SetMode(MODE_POSITION);

  /* USER CODE END 2 */

  /* Infinite loop */
  /* USER CODE BEGIN WHILE */
  while (1)
  {
	  MotorController_SetPosition(1200, 500);
	  MotorController_Start();
	  MotorController_Stop();

    /* USER CODE END WHILE */

  }
}

void SystemClock_Config(void)
{
  RCC_OscInitTypeDef RCC_OscInitStruct = {0};
  RCC_ClkInitTypeDef RCC_ClkInitStruct = {0};

  /** Configure the main internal regulator output voltage
  */
  HAL_PWREx_ControlVoltageScaling(PWR_REGULATOR_VOLTAGE_SCALE1_BOOST);

  /** Initializes the RCC Oscillators according to the specified parameters
  * in the RCC_OscInitTypeDef structure.
  */
  RCC_OscInitStruct.OscillatorType = RCC_OSCILLATORTYPE_HSE;
  RCC_OscInitStruct.HSEState = RCC_HSE_ON;
  RCC_OscInitStruct.PLL.PLLState = RCC_PLL_ON;
  RCC_OscInitStruct.PLL.PLLSource = RCC_PLLSOURCE_HSE;
  RCC_OscInitStruct.PLL.PLLM = RCC_PLLM_DIV6;
  RCC_OscInitStruct.PLL.PLLN = 85;
  RCC_OscInitStruct.PLL.PLLP = RCC_PLLP_DIV8;
  RCC_OscInitStruct.PLL.PLLQ = RCC_PLLQ_DIV2;
  RCC_OscInitStruct.PLL.PLLR = RCC_PLLR_DIV2;
  if (HAL_RCC_OscConfig(&RCC_OscInitStruct) != HAL_OK)
  {
    Error_Handler();
  }

  /** Initializes the CPU, AHB and APB buses clocks
  */
  RCC_ClkInitStruct.ClockType = RCC_CLOCKTYPE_HCLK|RCC_CLOCKTYPE_SYSCLK
                              |RCC_CLOCKTYPE_PCLK1|RCC_CLOCKTYPE_PCLK2;
  RCC_ClkInitStruct.SYSCLKSource = RCC_SYSCLKSOURCE_PLLCLK;
  RCC_ClkInitStruct.AHBCLKDivider = RCC_SYSCLK_DIV1;
  RCC_ClkInitStruct.APB1CLKDivider = RCC_HCLK_DIV1;
  RCC_ClkInitStruct.APB2CLKDivider = RCC_HCLK_DIV1;

  if (HAL_RCC_ClockConfig(&RCC_ClkInitStruct, FLASH_LATENCY_4) != HAL_OK)
  {
    Error_Handler();
  }

  /** Enables the Clock Security System
  */
  HAL_RCC_EnableCSS();
}

/**
  * @brief NVIC Configuration.
  * @retval None
  */
static void MX_NVIC_Init(void)
{
  /* USART2_IRQn interrupt configuration */
  HAL_NVIC_SetPriority(USART2_IRQn, 3, 1);
  HAL_NVIC_EnableIRQ(USART2_IRQn);
  /* DMA1_Channel1_IRQn interrupt configuration */
  HAL_NVIC_SetPriority(DMA1_Channel1_IRQn, 3, 0);
  HAL_NVIC_EnableIRQ(DMA1_Channel1_IRQn);
  /* TIM1_BRK_TIM15_IRQn interrupt configuration */
  HAL_NVIC_SetPriority(TIM1_BRK_TIM15_IRQn, 4, 1);
  HAL_NVIC_EnableIRQ(TIM1_BRK_TIM15_IRQn);
  /* TIM1_UP_TIM16_IRQn interrupt configuration */
  HAL_NVIC_SetPriority(TIM1_UP_TIM16_IRQn, 0, 0);
  HAL_NVIC_EnableIRQ(TIM1_UP_TIM16_IRQn);
  /* ADC1_2_IRQn interrupt configuration */
  HAL_NVIC_SetPriority(ADC1_2_IRQn, 2, 0);
  HAL_NVIC_EnableIRQ(ADC1_2_IRQn);
}

static void MX_ADC1_Init(void)
{

  ADC_MultiModeTypeDef multimode = {0};
  ADC_InjectionConfTypeDef sConfigInjected = {0};
  ADC_ChannelConfTypeDef sConfig = {0};

  /** Common config
  */
  hadc1.Instance = ADC1;
  hadc1.Init.ClockPrescaler = ADC_CLOCK_ASYNC_DIV1;
  hadc1.Init.Resolution = ADC_RESOLUTION_12B;
  hadc1.Init.DataAlign = ADC_DATAALIGN_LEFT;
  hadc1.Init.GainCompensation = 0;
  hadc1.Init.ScanConvMode = ADC_SCAN_ENABLE;
  hadc1.Init.EOCSelection = ADC_EOC_SINGLE_CONV;
  hadc1.Init.LowPowerAutoWait = DISABLE;
  hadc1.Init.ContinuousConvMode = DISABLE;
  hadc1.Init.NbrOfConversion = 1;
  hadc1.Init.DiscontinuousConvMode = DISABLE;
  hadc1.Init.ExternalTrigConv = ADC_SOFTWARE_START;
  hadc1.Init.ExternalTrigConvEdge = ADC_EXTERNALTRIGCONVEDGE_NONE;
  hadc1.Init.DMAContinuousRequests = DISABLE;
  hadc1.Init.Overrun = ADC_OVR_DATA_PRESERVED;
  hadc1.Init.OversamplingMode = DISABLE;
  if (HAL_ADC_Init(&hadc1) != HAL_OK)
  {
    Error_Handler();
  }

  /** Configure the ADC multi-mode
  */
  multimode.Mode = ADC_MODE_INDEPENDENT;
  if (HAL_ADCEx_MultiModeConfigChannel(&hadc1, &multimode) != HAL_OK)
  {
    Error_Handler();
  }

  /** Configure Injected Channel
  */
  sConfigInjected.InjectedChannel = ADC_CHANNEL_2;
  sConfigInjected.InjectedRank = ADC_INJECTED_RANK_1;
  sConfigInjected.InjectedSamplingTime = ADC_SAMPLETIME_6CYCLES_5;
  sConfigInjected.InjectedSingleDiff = ADC_SINGLE_ENDED;
  sConfigInjected.InjectedOffsetNumber = ADC_OFFSET_NONE;
  sConfigInjected.InjectedOffset = 0;
  sConfigInjected.InjectedNbrOfConversion = 2;
  sConfigInjected.InjectedDiscontinuousConvMode = DISABLE;
  sConfigInjected.AutoInjectedConv = DISABLE;
  sConfigInjected.QueueInjectedContext = DISABLE;
  sConfigInjected.ExternalTrigInjecConv = ADC_EXTERNALTRIGINJEC_T1_TRGO;
  sConfigInjected.ExternalTrigInjecConvEdge = ADC_EXTERNALTRIGINJECCONV_EDGE_RISING;
  sConfigInjected.InjecOversamplingMode = DISABLE;
  if (HAL_ADCEx_InjectedConfigChannel(&hadc1, &sConfigInjected) != HAL_OK)
  {
    Error_Handler();
  }

  /** Configure Injected Channel
  */
  sConfigInjected.InjectedChannel = ADC_CHANNEL_14;
  sConfigInjected.InjectedRank = ADC_INJECTED_RANK_2;
  if (HAL_ADCEx_InjectedConfigChannel(&hadc1, &sConfigInjected) != HAL_OK)
  {
    Error_Handler();
  }

  /** Configure Regular Channel
  */
  sConfig.Channel = ADC_CHANNEL_1;
  sConfig.Rank = ADC_REGULAR_RANK_1;
  sConfig.SamplingTime = ADC_SAMPLETIME_47CYCLES_5;
  sConfig.SingleDiff = ADC_SINGLE_ENDED;
  sConfig.OffsetNumber = ADC_OFFSET_NONE;
  sConfig.Offset = 0;
  if (HAL_ADC_ConfigChannel(&hadc1, &sConfig) != HAL_OK)
  {
    Error_Handler();
  }

}

static void MX_ADC2_Init(void)
{

  ADC_InjectionConfTypeDef sConfigInjected = {0};
  ADC_ChannelConfTypeDef sConfig = {0};

  /** Common config
  */
  hadc2.Instance = ADC2;
  hadc2.Init.ClockPrescaler = ADC_CLOCK_ASYNC_DIV1;
  hadc2.Init.Resolution = ADC_RESOLUTION_12B;
  hadc2.Init.DataAlign = ADC_DATAALIGN_LEFT;
  hadc2.Init.GainCompensation = 0;
  hadc2.Init.ScanConvMode = ADC_SCAN_ENABLE;
  hadc2.Init.EOCSelection = ADC_EOC_SINGLE_CONV;
  hadc2.Init.LowPowerAutoWait = DISABLE;
  hadc2.Init.ContinuousConvMode = DISABLE;
  hadc2.Init.NbrOfConversion = 1;
  hadc2.Init.DiscontinuousConvMode = DISABLE;
  hadc2.Init.ExternalTrigConv = ADC_SOFTWARE_START;
  hadc2.Init.ExternalTrigConvEdge = ADC_EXTERNALTRIGCONVEDGE_NONE;
  hadc2.Init.DMAContinuousRequests = DISABLE;
  hadc2.Init.Overrun = ADC_OVR_DATA_PRESERVED;
  hadc2.Init.OversamplingMode = DISABLE;
  if (HAL_ADC_Init(&hadc2) != HAL_OK)
  {
    Error_Handler();
  }

  /** Configure Injected Channel
  */
  sConfigInjected.InjectedChannel = ADC_CHANNEL_14;
  sConfigInjected.InjectedRank = ADC_INJECTED_RANK_1;
  sConfigInjected.InjectedSamplingTime = ADC_SAMPLETIME_6CYCLES_5;
  sConfigInjected.InjectedSingleDiff = ADC_SINGLE_ENDED;
  sConfigInjected.InjectedOffsetNumber = ADC_OFFSET_NONE;
  sConfigInjected.InjectedOffset = 0;
  sConfigInjected.InjectedNbrOfConversion = 2;
  sConfigInjected.InjectedDiscontinuousConvMode = DISABLE;
  sConfigInjected.AutoInjectedConv = DISABLE;
  sConfigInjected.QueueInjectedContext = DISABLE;
  sConfigInjected.ExternalTrigInjecConv = ADC_EXTERNALTRIGINJEC_T1_TRGO;
  sConfigInjected.ExternalTrigInjecConvEdge = ADC_EXTERNALTRIGINJECCONV_EDGE_RISING;
  sConfigInjected.InjecOversamplingMode = DISABLE;
  if (HAL_ADCEx_InjectedConfigChannel(&hadc2, &sConfigInjected) != HAL_OK)
  {
    Error_Handler();
  }

  /** Configure Injected Channel
  */
  sConfigInjected.InjectedChannel = ADC_CHANNEL_4;
  sConfigInjected.InjectedRank = ADC_INJECTED_RANK_2;
  if (HAL_ADCEx_InjectedConfigChannel(&hadc2, &sConfigInjected) != HAL_OK)
  {
    Error_Handler();
  }

  /** Configure Regular Channel
  */
  sConfig.Channel = ADC_CHANNEL_5;
  sConfig.Rank = ADC_REGULAR_RANK_1;
  sConfig.SamplingTime = ADC_SAMPLETIME_47CYCLES_5;
  sConfig.SingleDiff = ADC_SINGLE_ENDED;
  sConfig.OffsetNumber = ADC_OFFSET_NONE;
  sConfig.Offset = 0;
  if (HAL_ADC_ConfigChannel(&hadc2, &sConfig) != HAL_OK)
  {
    Error_Handler();
  }

}

static void MX_CORDIC_Init(void)
{

  hcordic.Instance = CORDIC;
  if (HAL_CORDIC_Init(&hcordic) != HAL_OK)
  {
    Error_Handler();
  }

}

static void MX_TIM1_Init(void)
{

  TIM_MasterConfigTypeDef sMasterConfig = {0};
  TIMEx_BreakInputConfigTypeDef sBreakInputConfig = {0};
  TIM_OC_InitTypeDef sConfigOC = {0};
  TIM_BreakDeadTimeConfigTypeDef sBreakDeadTimeConfig = {0};

  htim1.Instance = TIM1;
  htim1.Init.Prescaler = ((TIM_CLOCK_DIVIDER) - 1);
  htim1.Init.CounterMode = TIM_COUNTERMODE_CENTERALIGNED1;
  htim1.Init.Period = ((PWM_PERIOD_CYCLES) / 2);
  htim1.Init.ClockDivision = TIM_CLOCKDIVISION_DIV2;
  htim1.Init.RepetitionCounter = (REP_COUNTER);
  htim1.Init.AutoReloadPreload = TIM_AUTORELOAD_PRELOAD_DISABLE;
  if (HAL_TIM_PWM_Init(&htim1) != HAL_OK)
  {
    Error_Handler();
  }
  sMasterConfig.MasterOutputTrigger = TIM_TRGO_OC4REF;
  sMasterConfig.MasterOutputTrigger2 = TIM_TRGO2_RESET;
  sMasterConfig.MasterSlaveMode = TIM_MASTERSLAVEMODE_DISABLE;
  if (HAL_TIMEx_MasterConfigSynchronization(&htim1, &sMasterConfig) != HAL_OK)
  {
    Error_Handler();
  }
  sBreakInputConfig.Source = TIM_BREAKINPUTSOURCE_BKIN;
  sBreakInputConfig.Enable = TIM_BREAKINPUTSOURCE_ENABLE;
  sBreakInputConfig.Polarity = TIM_BREAKINPUTSOURCE_POLARITY_LOW;
  if (HAL_TIMEx_ConfigBreakInput(&htim1, TIM_BREAKINPUT_BRK2, &sBreakInputConfig) != HAL_OK)
  {
    Error_Handler();
  }
  sConfigOC.OCMode = TIM_OCMODE_PWM1;
  sConfigOC.Pulse = ((PWM_PERIOD_CYCLES) / 4);
  sConfigOC.OCPolarity = TIM_OCPOLARITY_HIGH;
  sConfigOC.OCNPolarity = TIM_OCNPOLARITY_HIGH;
  sConfigOC.OCFastMode = TIM_OCFAST_DISABLE;
  sConfigOC.OCIdleState = TIM_OCIDLESTATE_RESET;
  sConfigOC.OCNIdleState = TIM_OCNIDLESTATE_RESET;
  if (HAL_TIM_PWM_ConfigChannel(&htim1, &sConfigOC, TIM_CHANNEL_1) != HAL_OK)
  {
    Error_Handler();
  }
  if (HAL_TIM_PWM_ConfigChannel(&htim1, &sConfigOC, TIM_CHANNEL_2) != HAL_OK)
  {
    Error_Handler();
  }
  if (HAL_TIM_PWM_ConfigChannel(&htim1, &sConfigOC, TIM_CHANNEL_3) != HAL_OK)
  {
    Error_Handler();
  }
  sConfigOC.OCMode = TIM_OCMODE_PWM2;
  sConfigOC.Pulse = (((PWM_PERIOD_CYCLES) / 2) - (HTMIN));
  if (HAL_TIM_PWM_ConfigChannel(&htim1, &sConfigOC, TIM_CHANNEL_4) != HAL_OK)
  {
    Error_Handler();
  }
  sBreakDeadTimeConfig.OffStateRunMode = TIM_OSSR_ENABLE;
  sBreakDeadTimeConfig.OffStateIDLEMode = TIM_OSSI_ENABLE;
  sBreakDeadTimeConfig.LockLevel = TIM_LOCKLEVEL_OFF;
  sBreakDeadTimeConfig.DeadTime = 0;
  sBreakDeadTimeConfig.BreakState = TIM_BREAK_DISABLE;
  sBreakDeadTimeConfig.BreakPolarity = TIM_BREAKPOLARITY_HIGH;
  sBreakDeadTimeConfig.BreakFilter = 0;
  sBreakDeadTimeConfig.BreakAFMode = TIM_BREAK_AFMODE_INPUT;
  sBreakDeadTimeConfig.Break2State = TIM_BREAK2_ENABLE;
  sBreakDeadTimeConfig.Break2Polarity = TIM_BREAK2POLARITY_HIGH;
  sBreakDeadTimeConfig.Break2Filter = 3;
  sBreakDeadTimeConfig.Break2AFMode = TIM_BREAK_AFMODE_INPUT;
  sBreakDeadTimeConfig.AutomaticOutput = TIM_AUTOMATICOUTPUT_DISABLE;
  if (HAL_TIMEx_ConfigBreakDeadTime(&htim1, &sBreakDeadTimeConfig) != HAL_OK)
  {
    Error_Handler();
  }
  HAL_TIM_MspPostInit(&htim1);

}

static void MX_USART2_UART_Init(void)
{

  huart2.Instance = USART2;
  huart2.Init.BaudRate = 115200;
  huart2.Init.WordLength = UART_WORDLENGTH_8B;
  huart2.Init.StopBits = UART_STOPBITS_1;
  huart2.Init.Parity = UART_PARITY_NONE;
  huart2.Init.Mode = UART_MODE_TX_RX;
  huart2.Init.HwFlowCtl = UART_HWCONTROL_NONE;
  huart2.Init.OverSampling = UART_OVERSAMPLING_16;
  huart2.Init.OneBitSampling = UART_ONE_BIT_SAMPLE_DISABLE;
  huart2.Init.ClockPrescaler = UART_PRESCALER_DIV1;
  huart2.AdvancedInit.AdvFeatureInit = UART_ADVFEATURE_NO_INIT;
  if (HAL_UART_Init(&huart2) != HAL_OK)
  {
    Error_Handler();
  }
  if (HAL_UARTEx_SetTxFifoThreshold(&huart2, UART_TXFIFO_THRESHOLD_1_8) != HAL_OK)
  {
    Error_Handler();
  }
  if (HAL_UARTEx_SetRxFifoThreshold(&huart2, UART_RXFIFO_THRESHOLD_1_8) != HAL_OK)
  {
    Error_Handler();
  }
  if (HAL_UARTEx_DisableFifoMode(&huart2) != HAL_OK)
  {
    Error_Handler();
  }

}

static void MX_DMA_Init(void)
{

  /* DMA controller clock enable */
  __HAL_RCC_DMAMUX1_CLK_ENABLE();
  __HAL_RCC_DMA1_CLK_ENABLE();

}

static void MX_GPIO_Init(void)
{
  GPIO_InitTypeDef GPIO_InitStruct = {0};

  /* GPIO Ports Clock Enable */
  __HAL_RCC_GPIOF_CLK_ENABLE();
  __HAL_RCC_GPIOA_CLK_ENABLE();
  __HAL_RCC_GPIOC_CLK_ENABLE();
  __HAL_RCC_GPIOB_CLK_ENABLE();

  /*Configure GPIO pin Output Level */
  HAL_GPIO_WritePin(GPIOB, M1_PWM_EN_U_Pin|M1_PWM_EN_V_Pin|M1_PWM_EN_W_Pin, GPIO_PIN_RESET);

  /*Configure GPIO pins : M1_PWM_EN_U_Pin M1_PWM_EN_V_Pin M1_PWM_EN_W_Pin */
  GPIO_InitStruct.Pin = M1_PWM_EN_U_Pin|M1_PWM_EN_V_Pin|M1_PWM_EN_W_Pin;
  GPIO_InitStruct.Mode = GPIO_MODE_OUTPUT_PP;
  GPIO_InitStruct.Pull = GPIO_PULLDOWN;
  GPIO_InitStruct.Speed = GPIO_SPEED_FREQ_HIGH;
  HAL_GPIO_Init(GPIOB, &GPIO_InitStruct);

}

void Error_Handler(void)
{
  __disable_irq();
  while (1)
  {
  }
}
